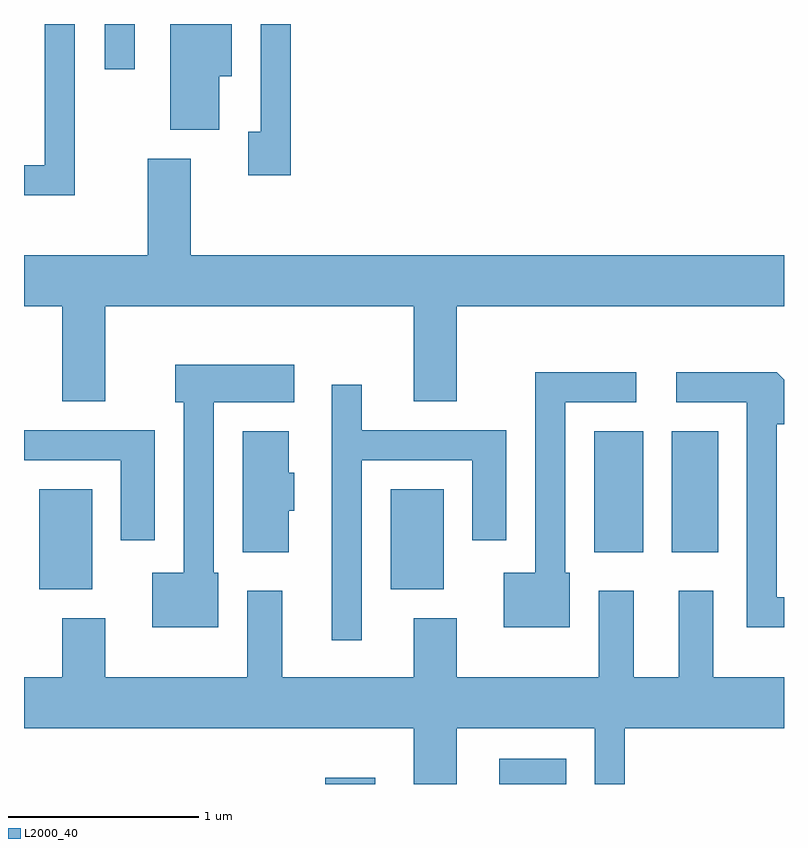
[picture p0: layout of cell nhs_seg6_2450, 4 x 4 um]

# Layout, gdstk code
import gdstk
lib = gdstk.Library(unit=1e-6, precision=1e-09)
def R(c, l, rs):  # rectangles x0, y0, x1, y1
    for r in rs: c.add(gdstk.rectangle(r[:2], r[2:], *l))
def P(c, l, *ps):  # polygons
    for p in ps: c.add(gdstk.Polygon(p, *l))
L2000_40 = (2000, 40)

nhs_seg6_2450 = lib.new_cell('nhs_seg6_2450')
R(nhs_seg6_2450, L2000_40, [(261.196,1574.162,261.459,1574.194), (262.113,1574.162,262.464,1574.294), (259.691,1575.186,259.969,1575.714), (261.541,1575.186,261.819,1575.714), (262.611,1575.381,262.869,1576.019), (263.021,1575.381,263.264,1576.019), (260.036,1577.923,260.194,1578.162)])
P(nhs_seg6_2450, L2000_40, [(260.639,1577.886),(260.704,1577.886),(260.704,1578.162),(260.381,1578.162),(260.381,1577.606),(260.639,1577.606)],
  [(259.879,1578.162),(259.721,1578.162),(259.721,1577.419),(259.611,1577.419),(259.611,1577.261),(259.879,1577.261)],
  [(261.014,1578.162),(260.856,1578.162),(260.856,1577.594),(260.791,1577.594),(260.791,1577.366),(261.014,1577.366)],
  [(260.039,1576.676),(261.661,1576.676),(261.661,1576.176),(261.889,1576.176),(261.889,1576.676),(263.611,1576.676),(263.611,1576.944),(260.489,1576.944),(260.489,1577.454),(260.261,1577.454),(260.261,1576.944),(259.611,1576.944),(259.611,1576.676),(259.811,1576.676),(259.811,1576.176),(260.039,1576.176)],
  [(260.634,1575.274),(260.609,1575.274),(260.609,1576.171),(261.034,1576.171),(261.034,1576.369),(260.406,1576.369),(260.406,1576.171),(260.451,1576.171),(260.451,1575.274),(260.286,1575.274),(260.286,1574.986),(260.634,1574.986)],
  [(262.484,1575.274),(262.459,1575.274),(262.459,1576.171),(262.833,1576.171),(262.833,1576.329),(262.301,1576.329),(262.301,1575.274),(262.136,1575.274),(262.136,1574.986),(262.484,1574.986)],
  [(263.611,1575.144),(263.574,1575.144),(263.574,1576.056),(263.611,1576.056),(263.611,1576.29),(263.572,1576.329),(263.043,1576.329),(263.043,1576.171),(263.416,1576.171),(263.416,1574.986),(263.611,1574.986)],
  [(261.389,1575.866),(261.971,1575.866),(261.971,1575.446),(262.149,1575.446),(262.149,1576.024),(261.389,1576.024),(261.389,1576.263),(261.231,1576.263),(261.231,1574.918),(261.389,1574.918)],
  [(260.299,1576.024),(259.611,1576.024),(259.611,1575.866),(260.121,1575.866),(260.121,1575.446),(260.299,1575.446)],
  [(261.004,1575.601),(261.034,1575.601),(261.034,1575.799),(261.004,1575.799),(261.004,1576.019),(260.761,1576.019),(260.761,1575.381),(261.004,1575.381)],
  [(261.889,1574.456),(262.616,1574.456),(262.616,1574.162),(262.774,1574.162),(262.774,1574.456),(263.611,1574.456),(263.611,1574.724),(263.239,1574.724),(263.239,1575.179),(263.056,1575.179),(263.056,1574.724),(262.819,1574.724),(262.819,1575.179),(262.636,1575.179),(262.636,1574.724),(261.889,1574.724),(261.889,1575.034),(261.661,1575.034),(261.661,1574.724),(260.969,1574.724),(260.969,1575.179),(260.786,1575.179),(260.786,1574.724),(260.039,1574.724),(260.039,1575.034),(259.811,1575.034),(259.811,1574.724),(259.611,1574.724),(259.611,1574.456),(261.661,1574.456),(261.661,1574.162),(261.889,1574.162)])

lib.write_gds('nhs_seg6_2450.gds')
